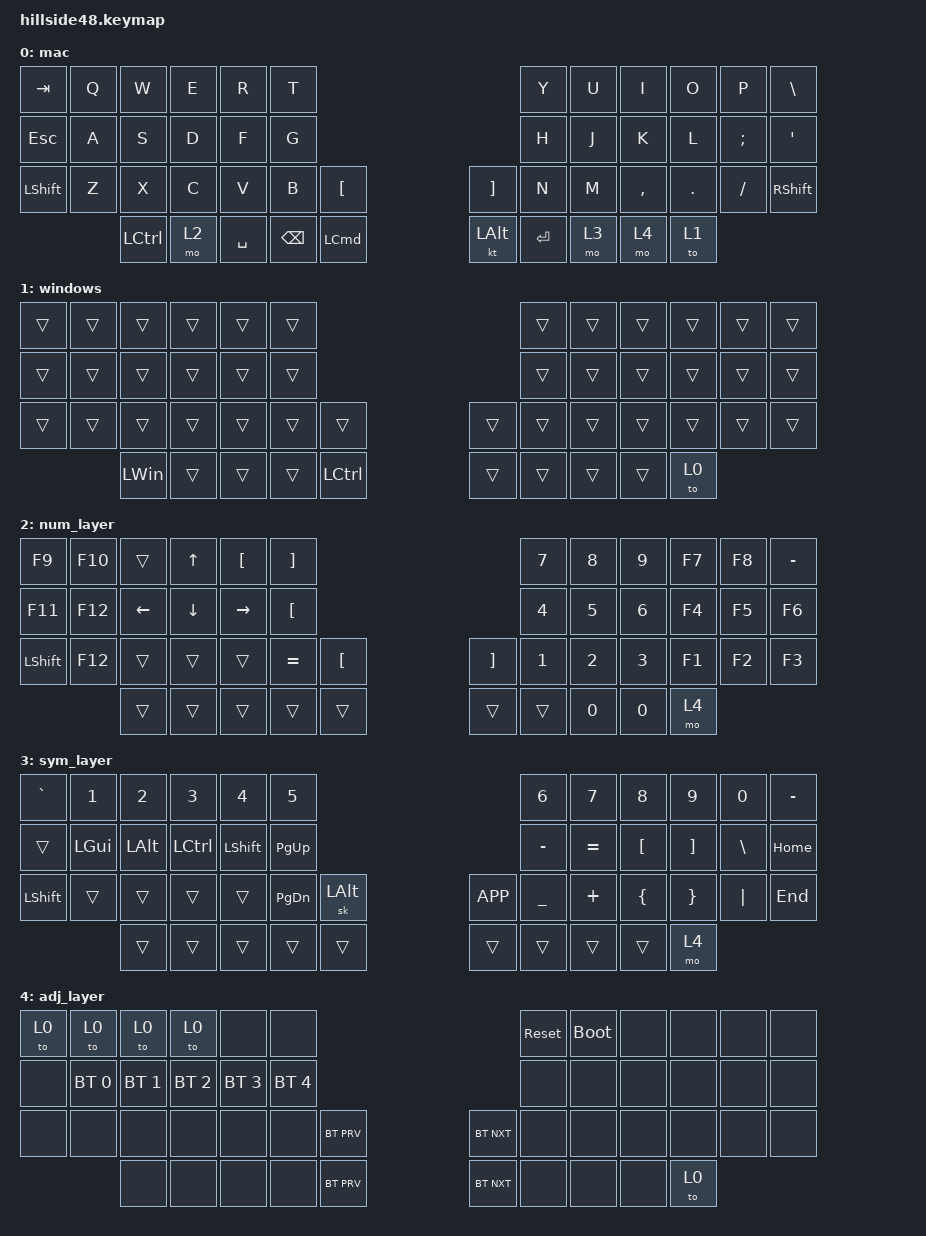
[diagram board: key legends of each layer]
/*
 * Copyright (c) 2022 The ZMK Contributors
 *
 * SPDX-License-Identifier: MIT
 */

#include <behaviors.dtsi>
#include <dt-bindings/zmk/bt.h>
#include <dt-bindings/zmk/keys.h>
#include <dt-bindings/zmk/keys.h>

#define QWERTY_L 0
#define DVORAK_L 1
#define COLEMK_L 2
#define MAC_Q_L  3
#define SYM_L    4
#define NUM_L    5
#define ADJ_L    6
#define Undo   LC(Z)
#define Cut    LC(X)
#define Copy   LC(C)
#define Paste  LC(V)

/ {
    keymap {
        compatible = "zmk,keymap";

        mac {
            bindings = <
&kp TAB    &kp Q  &kp W             &kp E  &kp R  &kp T                                                                           &kp Y  &kp U  &kp I      &kp O    &kp P      &kp BACKSLASH
&kp ESC    &kp A  &kp S             &kp D  &kp F  &kp G                                                                           &kp H  &kp J  &kp K      &kp L    &kp SEMI   &kp SQT
&kp LSHFT  &kp Z  &kp X             &kp C  &kp V  &kp B      &kp LEFT_BRACKET                                  &kp RIGHT_BRACKET  &kp N  &kp M  &kp COMMA  &kp DOT  &kp SLASH  &kp RSHFT
                  &kp LEFT_CONTROL         &mo 2  &kp SPACE  &kp BACKSPACE     &kp LEFT_COMMAND  &kt LEFT_ALT  &kp ENTER          &mo 3  &mo 4             &to 1
            >;
        };

        windows {
            bindings = <
&trans  &trans  &trans        &trans  &trans  &trans                                            &trans  &trans  &trans  &trans  &trans  &trans
&trans  &trans  &trans        &trans  &trans  &trans                                            &trans  &trans  &trans  &trans  &trans  &trans
&trans  &trans  &trans        &trans  &trans  &trans  &trans                            &trans  &trans  &trans  &trans  &trans  &trans  &trans
                &kp LEFT_WIN          &trans  &trans  &trans  &kp LEFT_CONTROL  &trans  &trans  &trans  &trans          &to 0
            >;
        };

        num_layer {
            /* NUM
 * -------------------------------------------------------------------------------------------------------------------------------------
 * | F1    |  F2   | Home  |  Up   |  End  |  F9   |-----------------------------------|   /   |   7   |   8   |   9   |   -   | BSPC  |
 * | F3    |  F4   | Left  | Down  | Right |  F10  |-----------------------------------|   *   |   4   |   5   |   6   |   +   | ENTER |
 * | Shift |  F5   |  F6   |  F7   |  F8   |  F11  |  F12  |-------------------| MUTE  |   ,   |   1   |   2   |   3   |   =   | DELETE|
 * ----------------|       |-------|       |       |       | ADJ_L |---|       |       |   0   |       |-------|Play/P |----------------
 */

            bindings = <
&kp F9     &kp F10  &trans    &kp UP    &kp LBKT   &kp RBKT                                       &kp N7  &kp N8  &kp N9  &kp F7  &kp F8  &kp MINUS
&kp F11    &kp F12  &kp LEFT  &kp DOWN  &kp RIGHT  &kp LBKT                                       &kp N4  &kp N5  &kp N6  &kp F4  &kp F5  &kp F6
&kp LSHFT  &kp F12  &trans    &trans    &trans     &kp EQUAL  &kp LBKT                  &kp RBKT  &kp N1  &kp N2  &kp N3  &kp F1  &kp F2  &kp F3
                    &trans              &trans     &trans     &trans    &trans  &trans  &trans    &kp N0  &kp N0          &mo 4
            >;
        };

        sym_layer {
            /* SYM
 * -------------------------------------------------------------------------------------------------------------------------------------
 * | HOME  |   !   |   @   |   #   |   $   |   %   |-----------------------------------|   ^   |   &   |   *   |   (   |   )   | BSPC  |
 * | END   |  GUI  |  Alt  | Ctrl  | Shift | Pg Up |-----------------------------------|   -   |   =   |   [   |   ]   |   \   | ENTER |
 * | Shift |  UnDo |  Cut  | Copy  | Paste | Pg Dn |OsAltGr|-------------------| MENU  |   _   |   +   |   {   |   }   |   |   | SHIFT |
 * ----------------|       |-------|       |       |       |       |---| ADJ_L |       |       |       |-------| CTRL  |----------------
 */

            bindings = <
&kp GRAVE       &kp N1    &kp N2    &kp N3     &kp N4     &kp N5                                              &kp N6     &kp N7     &kp N8    &kp N9    &kp N0    &kp MINUS
&trans          &kp LGUI  &kp LALT  &kp LCTRL  &kp LSHFT  &kp PG_UP                                           &kp MINUS  &kp EQUAL  &kp LBKT  &kp RBKT  &kp BSLH  &kp HOME
&kp LEFT_SHIFT  &trans    &trans    &trans     &trans     &kp PG_DN  &sk LEFT_ALT                  &kp K_APP  &kp UNDER  &kp PLUS   &kp LBRC  &kp RBRC  &kp PIPE  &kp END
                          &trans               &trans     &trans     &trans        &trans  &trans  &trans     &trans     &trans               &mo 4
            >;
        };

        adj_layer {
            /* ADJUST
 * ----------------------------------------------------------------------------------------------------------------------------------------
 * |MAC_QWERTY| QWERTY| DVORAK| COLEMK| NUM   |       |-----------------------------------|       |Prt Scr|       | EP_OFF| EP_ON |       |
 * |          | BT 0  | BT 1  | BT 2  | BT 3  | BT 4  |-----------------------------------|       |       |       |       |       |       |
 * |   BOOTL  | RESET |       |OUT_USB|OUT_BLE|       |BT CLR |-------------------|       |       |       |       |       |       | SHIFT |
 * -------------------|       |-------|       |       |       |       |---|       |       |       |       |-------| CTRL  |----------------
 */

            bindings = <
&to 0  &to 0         &to 0         &to 0         &none         &none                                                         &sys_reset  &bootloader  &none  &none  &none  &none
&none  &bt BT_SEL 0  &bt BT_SEL 1  &bt BT_SEL 2  &bt BT_SEL 3  &bt BT_SEL 4                                                  &none       &none        &none  &none  &none  &none
&none  &none         &none         &none         &none         &none         &bt BT_PRV                          &bt BT_NXT  &none       &none        &none  &none  &none  &none
                     &none                       &none         &none         &none       &bt BT_PRV  &bt BT_NXT  &none       &none       &none               &to 0
            >;
        };
    };
};
